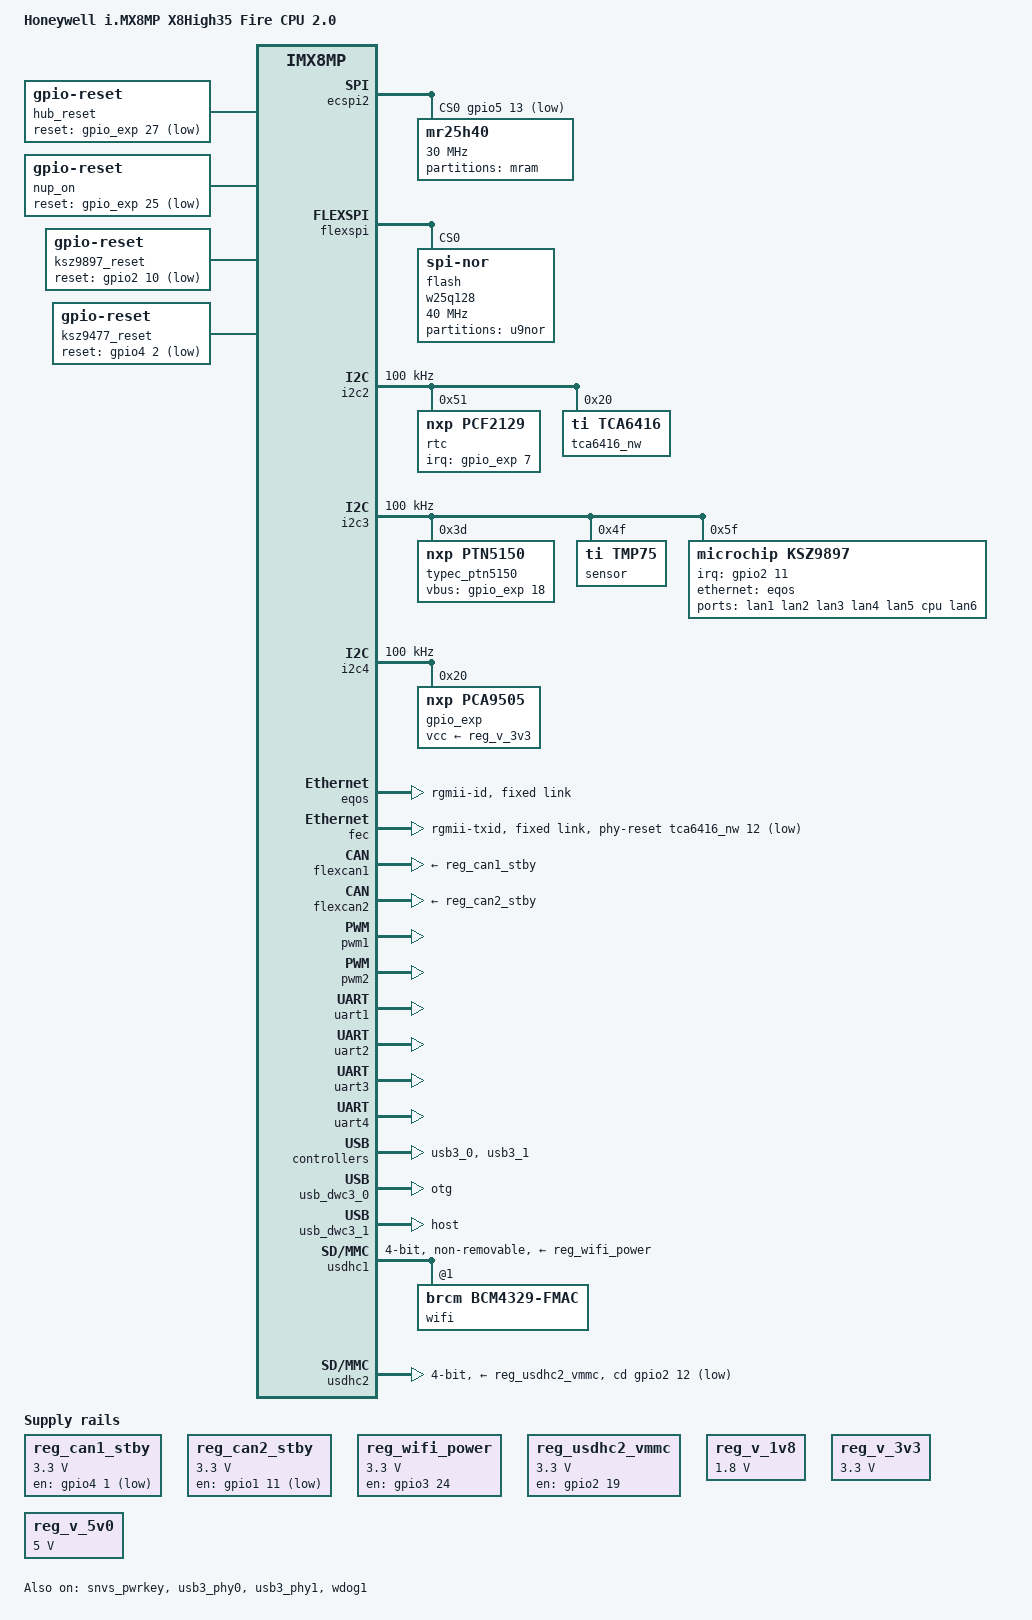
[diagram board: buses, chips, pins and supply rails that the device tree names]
// SPDX-License-Identifier: (GPL-2.0 OR MIT)
/*
 * Copyright (C) 2021 Shrirang Bagul <shrirang.bagul@canonical.com>
 */

/dts-v1/;

#include "dt-bindings/usb/pd.h"
#include "imx8mp-x8high35-som.dtsi"

/ {
	model = "Honeywell i.MX8MP X8High35 Fire CPU 2.0";
	compatible = "Honeywell,x8high35-fire", "fsl,imx8mp-evk", "fsl,imx8mp";

	chosen {
		stdout-path = &uart2;
	};

	firmware {
		optee {
			compatible = "linaro,optee-tz";
			method = "smc";
		};
	};

	reg_can1_stby: regulator-can1-stby {
		compatible = "regulator-fixed";
		regulator-name = "can1-stby";
		pinctrl-names = "default";
		pinctrl-0 = <&pinctrl_flexcan1_reg>;
		regulator-min-microvolt = <3300000>;
		regulator-max-microvolt = <3300000>;
		gpio = <&gpio4 1 GPIO_ACTIVE_LOW>;
		enable-active-low;
		regulator-always-on;
	};

	reg_can2_stby: regulator-can2-stby {
		compatible = "regulator-fixed";
		regulator-name = "can2-stby";
		pinctrl-names = "default";
		pinctrl-0 = <&pinctrl_flexcan2_reg>;
		regulator-min-microvolt = <3300000>;
		regulator-max-microvolt = <3300000>;
		gpio = <&gpio1 11 GPIO_ACTIVE_LOW>;
		enable-active-low;
		regulator-always-on;
	        status = "okay";
	};

	reg_wifi_power: regulator-wifi-power {
		compatible = "regulator-fixed";
		regulator-name = "wifi_power";
		regulator-min-microvolt = <3300000>;
		regulator-max-microvolt = <3300000>;
		gpio = <&gpio3 24 GPIO_ACTIVE_HIGH>;
		enable-active-high;
		regulator-always-on;
		startup-delay-us = <10000>;
		off-on-delay-us = <12000>;
	};

	reg_usdhc2_vmmc: regulator-usdhc2-vmmc {
		compatible = "regulator-fixed";
		pinctrl-names = "default";
//		pinctrl-0 = <&pinctrl_reg_usdhc2_vmmc>;
		regulator-name = "VSD_3V3";
		regulator-min-microvolt = <3300000>;
		regulator-max-microvolt = <3300000>;
		gpio = <&gpio2 19 GPIO_ACTIVE_HIGH>;
		enable-active-high;
		startup-delay-us = <100>;
		off-on-delay-us = <12000>;
	};

	reg_v_1v8: regulator-v-1v8 {
		compatible = "regulator-fixed";
		regulator-name = "v_1v8";
		regulator-max-microvolt = <1800000>;
		regulator-min-microvolt = <1800000>;
		regulator-always-on;
	};

	reg_v_3v3: regulator-v-3v3 {
		compatible = "regulator-fixed";
		regulator-name = "v_3v3";
		regulator-max-microvolt = <3300000>;
		regulator-min-microvolt = <3300000>;
		regulator-always-on;
	};

	reg_v_5v0: regulator-v-5v0 {
		compatible = "regulator-fixed";
		regulator-name = "v_5v0";
		regulator-max-microvolt = <5000000>;
		regulator-min-microvolt = <5000000>;
		regulator-always-on;
	};

	hub_reset: usb-reset {
		compatible = "gpio-reset";
		reset-gpios = <&gpio_exp 27 1>;
		#reset-cells = <0>;
		default-state = "off";
	};

	nup_on: nup-on {
               compatible = "gpio-reset";
               reset-gpios = <&gpio_exp 25 1>;
               #reset-cells = <0>;
               default-state = "off";
	};

	ksz9897_reset: ksz9897-reset {
		compatible = "gpio-reset";
		reset-gpios = <&gpio2 10 1>;
		#reset-cells = <0>;
		default-state = "off";
	};

	ksz9477_reset: ksz9897-reset {
		compatible = "gpio-reset";
		reset-gpios = <&gpio4 2 1>;
		#reset-cells = <0>;
		default-state = "off";
	};
};

&ecspi2 {
	pinctrl-names = "default";
	pinctrl-0 = <&pinctrl_ecspi2>;
	cs-gpios = <&gpio5 13 GPIO_ACTIVE_LOW>;
	num-cs = <1>;
	status = "okay";

	mr25h40: mram@0 {
		#address-cell = <1>;
		#size-cells = <1>;
		compatible = "mr25h40", "jedec,spi-nor";
		reg = <0 0x00000000 0x00080000>;
		spi-max-frequency = <30000000>;

		partition@0 {
			label = "mram";
			reg = <0x00000000 0x00080000>;
		};
	};
};

&flexspi {
	pinctrl-names = "default";
	pinctrl-0 = <&pinctrl_flexspi0>;
	status = "okay";

	flash: w25q128@0 {
		#address-cells = <1>;
		#size-cell = <1>;
		compatible = "jedec,spi-nor";
		m25p,fast-read;
		spi-max-frequency = <40000000>;
		reg = <0>;

		partition@u9nor {
			label = "u9nor";
			reg = <0x00000000 0x01000000>; /* start address, size */
		};
	};
};

&i2c2 {
	pinctrl-names = "default";
	pinctrl-0 = <&pinctrl_i2c2>;
	clock-frequency = <100000>;
	status = "okay";

	rtc: rtc@51 {
		compatible = "nxp,pcf2129";
		reg = <0x51>;
		interrupt-parent = <&gpio_exp>;
		interrupts = <7 IRQ_TYPE_EDGE_FALLING>;
	};

	tca6416_nw: gpio@20 {
		compatible = "ti,tca6416";
		reg = <0x20>;
		gpio-controller;
		#gpio-cells = <2>;
	};
};

&i2c3 {
	pinctrl-names = "default";
	pinctrl-0 = <&pinctrl_i2c3>;
	clock-frequency = <100000>;
	status = "okay";

	typec_ptn5150: typec@3d {
		compatible = "nxp,ptn5150";
		reg = <0x3d>;
		vbus-gpios = <&gpio_exp 18 GPIO_ACTIVE_HIGH>;
		status = "okay";
	};

	sensor@4f {
		compatible = "ti,tmp75";
		reg = <0x4f>;
	};

	ksz9897: ksz9897@5f {
		compatible = "microchip,ksz9897";
		reg = <0x5f>;
		phy-mode = "rgmii-txid";
		interrupt-parent = <&gpio2>;
		interrupts = <11 IRQ_TYPE_LEVEL_LOW>;
		status = "okay";
		ports {
			#address-cells = <1>;
			#size-cells = <0>;
			port@0 {
				reg = <0>;
				label = "lan1";
			};
			port@1 {
				reg = <1>;
				label = "lan2";
			};
			port@2 {
				reg = <2>;
				label = "lan3";
			};
			port@3 {
				reg = <3>;
				label = "lan4";
			};
			port@4 {
				reg = <4>;
				label = "lan5";
			};
			port@5 {
				reg = <5>;
				label = "cpu";
				cpu = <6>;	/* Added cpu property to get cpu port in ksz driver */
				ethernet = <&eqos>;
				fixed-link {
					speed = <1000>;
					full-duplex;
				};
			};
			port@6 {
				reg = <6>;
				label = "lan6";
				fixed-link {
					speed = <1000>;
					full-duplex;
				};
			};
		};
	};
};

&i2c4 {
	pinctrl-names = "default";
	pinctrl-0 = <&pinctrl_i2c4>;
	clock-frequency = <100000>;
	status = "okay";

	gpio_exp: gpio@20 {
		compatible = "nxp,pca9505";
		reg = <0x20>;
		gpio-controller;
		#gpio-cells = <2>;
		vcc-supply = <&reg_v_3v3>;
		status = "okay";
	};
};

&eqos {
	pinctrl-names = "default";
	pinctrl-0 = <&pinctrl_eqos>;
	phy-mode = "rgmii-id";
	resets = <&ksz9897_reset>;
	status = "okay";
	fixed-link {
		speed = <1000>;
		full-duplex;
	};
};

&fec {
	pinctrl-names = "default";
	pinctrl-0 = <&pinctrl_fec>;
	phy-mode = "rgmii-txid";
	resets = <&ksz9477_reset>;
	fsl,magic-packet;
	phy-reset-gpios = <&tca6416_nw 12 1>;
	phy-reset-duration =<20>;
	status = "okay";
	fixed-link {
		speed = <1000>;
		full-duplex;
	};
};

&iomuxc {
	pinctrl-names = "default";
	pinctrl-0 = <&pinctrl_hog>;

	pinctrl_hog: hoggrp {
		fsl,pins = <
			MX8MP_IOMUXC_SAI2_MCLK__GPIO4_IO27		0x19 /* HW_FIRE_IN */
			MX8MP_IOMUXC_SAI2_TXFS__GPIO4_IO24		0x19 /* SYS_FAULT_IN */
			MX8MP_IOMUXC_SAI2_TXC__GPIO4_IO25		0x19 /* HW_FIRE_OUT  */
			MX8MP_IOMUXC_SAI2_TXD0__GPIO4_IO26		0x19 /* BUF_nALRM_BUS */
			MX8MP_IOMUXC_SAI2_RXD0__GPIO4_IO23		0x19 /* xCLP_SYNC_UNBUF */
			MX8MP_IOMUXC_SAI2_RXFS__GPIO4_IO21		0x19 /* BUF_SYS_SYNC_IN */
			MX8MP_IOMUXC_SAI3_MCLK__GPIO5_IO02		0x19 /* INT_ADIN1200 */
			MX8MP_IOMUXC_SAI3_TXFS__GPIO4_IO31		0x19 /* INT_ADIN1100 */
			MX8MP_IOMUXC_SAI3_TXC__GPIO5_IO00		0x19 /* INT_N_SFP2_10BASE2 */
			MX8MP_IOMUXC_SAI3_RXFS__GPIO4_IO28		0x19 /* INT_N_SFP1_10BASE1 */
			MX8MP_IOMUXC_SPDIF_RX__GPIO5_IO04		0x19 /* EXPANDER_nINT */
			MX8MP_IOMUXC_SPDIF_EXT_CLK__GPIO5_IO05		0x19 /* USB_INT */
			MX8MP_IOMUXC_SD2_WP__GPIO2_IO20		0x19 /* nINT_NFC */
			MX8MP_IOMUXC_SD2_RESET_B__GPIO2_IO19		0x19 /* SYS_SYNC_OUT */
			MX8MP_IOMUXC_SAI1_TXD6__GPIO4_IO18		0x19 /* ONC_PM_RESET */
			MX8MP_IOMUXC_SAI1_RXFS__GPIO4_IO00		0x19 /* PME_N */
			MX8MP_IOMUXC_SAI5_RXFS__GPIO3_IO19		0x19
			MX8MP_IOMUXC_GPIO1_IO05__GPIO1_IO05		0x19 /* BOARD_ID_01 */
			MX8MP_IOMUXC_GPIO1_IO06__GPIO1_IO06		0x19 /* BOARD_ID_02 */
			MX8MP_IOMUXC_GPIO1_IO07__GPIO1_IO07		0x19 /* BOARD_ID_03 */
			MX8MP_IOMUXC_GPIO1_IO13__GPIO1_IO13		0x19 /* BOARD_REV_01 */
			MX8MP_IOMUXC_GPIO1_IO14__GPIO1_IO14		0x19 /* BOARD_REV_02 */
			MX8MP_IOMUXC_GPIO1_IO01__GPIO1_IO01		0x19 /* OPT_NW_ID */
			MX8MP_IOMUXC_GPIO1_IO15__GPIO1_IO15		0x19
			MX8MP_IOMUXC_GPIO1_IO10__GPIO1_IO10		0x19
			MX8MP_IOMUXC_SAI1_TXD7__GPIO4_IO19		0x19 /* GPIO_RESET */
		>;
	};

	pinctrl_eqos: eqosgrp {
		fsl,pins = <
			MX8MP_IOMUXC_ENET_MDC__ENET_QOS_MDC	0x3
			MX8MP_IOMUXC_ENET_MDIO__ENET_QOS_MDIO	0x3
			MX8MP_IOMUXC_ENET_RD0__ENET_QOS_RGMII_RD0	0x91
			MX8MP_IOMUXC_ENET_RD1__ENET_QOS_RGMII_RD1	0x91
			MX8MP_IOMUXC_ENET_RD2__ENET_QOS_RGMII_RD2	0x91
			MX8MP_IOMUXC_ENET_RD3__ENET_QOS_RGMII_RD3	0x91
			MX8MP_IOMUXC_ENET_RXC__CCM_ENET_QOS_CLOCK_GENERATE_RX_CLK	0x91
			MX8MP_IOMUXC_ENET_RX_CTL__ENET_QOS_RGMII_RX_CTL	0x91
			MX8MP_IOMUXC_ENET_TD0__ENET_QOS_RGMII_TD0		0x1f
			MX8MP_IOMUXC_ENET_TD1__ENET_QOS_RGMII_TD1		0x1f
			MX8MP_IOMUXC_ENET_TD2__ENET_QOS_RGMII_TD2		0x1f
			MX8MP_IOMUXC_ENET_TD3__ENET_QOS_RGMII_TD3		0x1f
			MX8MP_IOMUXC_ENET_TX_CTL__ENET_QOS_RGMII_TX_CTL	0x1f
			MX8MP_IOMUXC_ENET_TXC__CCM_ENET_QOS_CLOCK_GENERATE_TX_CLK	0x1f
			MX8MP_IOMUXC_SD1_RESET_B__GPIO2_IO10		0x19
			MX8MP_IOMUXC_SD1_STROBE__GPIO2_IO11		0x19 /* ksz9897 switch INT */
			MX8MP_IOMUXC_SAI5_RXD0__GPIO3_IO21		0x19 /* ENET_PME_N */
		>;
	};

	pinctrl_ecspi2: ecspi2grp {
		fsl,pins = <
			MX8MP_IOMUXC_ECSPI2_SCLK__ECSPI2_SCLK	0x82
			MX8MP_IOMUXC_ECSPI2_MISO__ECSPI2_MISO	0x82
			MX8MP_IOMUXC_ECSPI2_MOSI__ECSPI2_MOSI	0x82
			MX8MP_IOMUXC_SAI1_RXC__GPIO4_IO01 	0x19
			MX8MP_IOMUXC_SAI1_RXFS__GPIO4_IO00	0x19
			MX8MP_IOMUXC_ECSPI2_SS0__GPIO5_IO13	0x40000
			MX8MP_IOMUXC_SAI3_TXD__GPIO5_IO01	0x40000
		>;
	};

	pinctrl_fec: fecgrp {
		fsl,pins = <
			MX8MP_IOMUXC_SAI1_RXD2__ENET1_MDC		0x3
			MX8MP_IOMUXC_SAI1_RXD3__ENET1_MDIO		0x3
			MX8MP_IOMUXC_SAI1_RXD4__ENET1_RGMII_RD0		0x91
			MX8MP_IOMUXC_SAI1_RXD5__ENET1_RGMII_RD1		0x91
			MX8MP_IOMUXC_SAI1_RXD6__ENET1_RGMII_RD2		0x91
			MX8MP_IOMUXC_SAI1_RXD7__ENET1_RGMII_RD3		0x91
			MX8MP_IOMUXC_SAI1_TXC__ENET1_RGMII_RXC		0x91
			MX8MP_IOMUXC_SAI1_TXFS__ENET1_RGMII_RX_CTL	0x91
			MX8MP_IOMUXC_SAI1_TXD0__ENET1_RGMII_TD0		0x1f
			MX8MP_IOMUXC_SAI1_TXD1__ENET1_RGMII_TD1		0x1f
			MX8MP_IOMUXC_SAI1_TXD2__ENET1_RGMII_TD2		0x1f
			MX8MP_IOMUXC_SAI1_TXD3__ENET1_RGMII_TD3		0x1f
			MX8MP_IOMUXC_SAI1_TXD4__ENET1_RGMII_TX_CTL	0x1f
			MX8MP_IOMUXC_SAI1_TXD5__ENET1_RGMII_TXC		0x1f
			MX8MP_IOMUXC_SAI1_RXD0__GPIO4_IO02		0x19
		>;
	};

	pinctrl_flexcan1: flexcan1grp {
		fsl,pins = <
			MX8MP_IOMUXC_SAI5_RXD2__CAN1_RX          0x154
			MX8MP_IOMUXC_SAI5_RXD1__CAN1_TX          0x154
		>;
	};

	pinctrl_flexcan2: flexcan2grp {
		fsl,pins = <
			MX8MP_IOMUXC_SAI5_MCLK__CAN2_RX		0x154
			MX8MP_IOMUXC_SAI5_RXD3__CAN2_TX		0x154
		>;
	};

	pinctrl_flexcan1_reg: flexcan1reggrp {
		fsl,pins = <
			MX8MP_IOMUXC_SAI1_RXC__GPIO4_IO01	0x154	/* CAN1_STBY */
		>;
	};

	pinctrl_flexcan2_reg: flexcan2reggrp {
		fsl,pins = <
			MX8MP_IOMUXC_GPIO1_IO11__GPIO1_IO11	0x154	/* CAN2_STBY */
		>;
	};

	pinctrl_flexspi0: flexspi0grp {
		fsl,pins = <
			MX8MP_IOMUXC_NAND_ALE__FLEXSPI_A_SCLK		0x1c2
			MX8MP_IOMUXC_NAND_CE0_B__FLEXSPI_A_SS0_B	0x82
			MX8MP_IOMUXC_NAND_DATA00__FLEXSPI_A_DATA00	0x82
			MX8MP_IOMUXC_NAND_DATA01__FLEXSPI_A_DATA01	0x82
			MX8MP_IOMUXC_NAND_DATA02__FLEXSPI_A_DATA02	0x82
			MX8MP_IOMUXC_NAND_DATA03__FLEXSPI_A_DATA03	0x82
		>;
	};

	pinctrl_i2c2: i2c2grp {
		fsl,pins = <
			MX8MP_IOMUXC_I2C2_SCL__I2C2_SCL		0x400001c3
			MX8MP_IOMUXC_I2C2_SDA__I2C2_SDA		0x400001c3
		>;
	};

	pinctrl_i2c3: i2c3grp {
		fsl,pins = <
			MX8MP_IOMUXC_I2C3_SCL__I2C3_SCL		0x400001c3
			MX8MP_IOMUXC_I2C3_SDA__I2C3_SDA		0x400001c3
		>;
	};

	pinctrl_i2c4: i2c4grp {
		fsl,pins = <
			MX8MP_IOMUXC_I2C4_SCL__I2C4_SCL		0x400001c3
			MX8MP_IOMUXC_I2C4_SDA__I2C4_SDA		0x400001c3
		>;
	};

	pinctrl_pwm1: pwm1grp {
		fsl,pins = <
			MX8MP_IOMUXC_GPIO1_IO08__PWM1_OUT	0x116
		>;
	};

	pinctrl_pwm2: pwm2grp {
		fsl,pins = <
			MX8MP_IOMUXC_GPIO1_IO09__PWM2_OUT	0x116
		>;
	};

	pinctrl_uart1: uart1grp {
		fsl,pins = <
			MX8MP_IOMUXC_UART1_RXD__UART1_DCE_RX	0x140
			MX8MP_IOMUXC_UART1_TXD__UART1_DCE_TX	0x140
			MX8MP_IOMUXC_UART3_RXD__GPIO5_IO26	0x140
			MX8MP_IOMUXC_UART3_TXD__GPIO5_IO27	0x140
		>;
	};

	pinctrl_uart2: uart2grp {
		fsl,pins = <
			MX8MP_IOMUXC_UART2_RXD__UART2_DCE_RX	0x49
			MX8MP_IOMUXC_UART2_TXD__UART2_DCE_TX	0x49
		>;
	};

	pinctrl_uart3: uart3grp {
		fsl,pins = <
			MX8MP_IOMUXC_ECSPI1_SCLK__UART3_DCE_RX	0x140
			MX8MP_IOMUXC_ECSPI1_MOSI__UART3_DCE_TX	0x140
			MX8MP_IOMUXC_ECSPI1_SS0__GPIO5_IO09	0x140
			MX8MP_IOMUXC_ECSPI1_MISO__GPIO5_IO08	0x140
		>;
	};

	pinctrl_uart4: uart4grp {
		fsl,pins = <
			MX8MP_IOMUXC_UART4_RXD__UART4_DCE_RX	0x140
			MX8MP_IOMUXC_UART4_TXD__UART4_DCE_TX	0x140
			MX8MP_IOMUXC_HDMI_DDC_SCL__GPIO3_IO26	0x140
			MX8MP_IOMUXC_HDMI_DDC_SDA__GPIO3_IO27	0x140
			MX8MP_IOMUXC_HDMI_CEC__GPIO3_IO28	0x140
			MX8MP_IOMUXC_HDMI_HPD__GPIO3_IO29	0x140
		>;
	};

	pinctrl_usdhc1: usdhc1grp {
		fsl,pins = <
			MX8MP_IOMUXC_SD1_CLK__USDHC1_CLK	0x190
			MX8MP_IOMUXC_SD1_CMD__USDHC1_CMD	0x1d0
			MX8MP_IOMUXC_SD1_DATA0__USDHC1_DATA0	0x1d0
			MX8MP_IOMUXC_SD1_DATA1__USDHC1_DATA1	0x1d0
			MX8MP_IOMUXC_SD1_DATA2__USDHC1_DATA2	0x1d0
			MX8MP_IOMUXC_SD1_DATA3__USDHC1_DATA3	0x1d0
			MX8MP_IOMUXC_SD1_DATA6__GPIO2_IO08	0x19
			MX8MP_IOMUXC_SD1_DATA7__GPIO2_IO09	0x19
		>;
	};

	pinctrl_usdhc1_100mhz: usdhc1-100mhzgrp {
		fsl,pins = <
			MX8MP_IOMUXC_SD1_CLK__USDHC1_CLK	0x194
			MX8MP_IOMUXC_SD1_CMD__USDHC1_CMD	0x1d4
			MX8MP_IOMUXC_SD1_DATA0__USDHC1_DATA0	0x1d4
			MX8MP_IOMUXC_SD1_DATA1__USDHC1_DATA1	0x1d4
			MX8MP_IOMUXC_SD1_DATA2__USDHC1_DATA2	0x1d4
			MX8MP_IOMUXC_SD1_DATA3__USDHC1_DATA3	0x1d4
			MX8MP_IOMUXC_SD1_DATA6__GPIO2_IO08	0x19
			MX8MP_IOMUXC_SD1_DATA7__GPIO2_IO09	0x19
		>;
	};

	pinctrl_usdhc1_200mhz: usdhc1-200mhzgrp {
		fsl,pins = <
			MX8MP_IOMUXC_SD1_CLK__USDHC1_CLK	0x196
			MX8MP_IOMUXC_SD1_CMD__USDHC1_CMD	0x1d6
			MX8MP_IOMUXC_SD1_DATA0__USDHC1_DATA0	0x1d6
			MX8MP_IOMUXC_SD1_DATA1__USDHC1_DATA1	0x1d6
			MX8MP_IOMUXC_SD1_DATA2__USDHC1_DATA2	0x1d6
			MX8MP_IOMUXC_SD1_DATA3__USDHC1_DATA3	0x1d6
			MX8MP_IOMUXC_SD1_DATA6__GPIO2_IO08	0x19
			MX8MP_IOMUXC_SD1_DATA7__GPIO2_IO09	0x19
		>;
	};

	pinctrl_usdhc2: usdhc2grp {
		fsl,pins = <
			MX8MP_IOMUXC_SD2_CLK__USDHC2_CLK	0x190
			MX8MP_IOMUXC_SD2_CMD__USDHC2_CMD	0x1d0
			MX8MP_IOMUXC_SD2_DATA0__USDHC2_DATA0	0x1d0
			MX8MP_IOMUXC_SD2_DATA1__USDHC2_DATA1	0x1d0
			MX8MP_IOMUXC_SD2_DATA2__USDHC2_DATA2	0x1d0
			MX8MP_IOMUXC_SD2_DATA3__USDHC2_DATA3	0x1d0
			MX8MP_IOMUXC_GPIO1_IO04__USDHC2_VSELECT	0xc1
		>;
	};

	pinctrl_usdhc2_100mhz: usdhc2-100mhzgrp {
		fsl,pins = <
			MX8MP_IOMUXC_SD2_CLK__USDHC2_CLK	0x194
			MX8MP_IOMUXC_SD2_CMD__USDHC2_CMD	0x1d4
			MX8MP_IOMUXC_SD2_DATA0__USDHC2_DATA0	0x1d4
			MX8MP_IOMUXC_SD2_DATA1__USDHC2_DATA1	0x1d4
			MX8MP_IOMUXC_SD2_DATA2__USDHC2_DATA2	0x1d4
			MX8MP_IOMUXC_SD2_DATA3__USDHC2_DATA3	0x1d4
			MX8MP_IOMUXC_GPIO1_IO04__USDHC2_VSELECT 0xc1
		>;
	};

	pinctrl_usdhc2_200mhz: usdhc2-200mhzgrp {
		fsl,pins = <
			MX8MP_IOMUXC_SD2_CLK__USDHC2_CLK	0x196
			MX8MP_IOMUXC_SD2_CMD__USDHC2_CMD	0x1d6
			MX8MP_IOMUXC_SD2_DATA0__USDHC2_DATA0	0x1d6
			MX8MP_IOMUXC_SD2_DATA1__USDHC2_DATA1	0x1d6
			MX8MP_IOMUXC_SD2_DATA2__USDHC2_DATA2	0x1d6
			MX8MP_IOMUXC_SD2_DATA3__USDHC2_DATA3	0x1d6
			MX8MP_IOMUXC_GPIO1_IO04__USDHC2_VSELECT 0xc1
		>;
	};

	pinctrl_usdhc2_gpio: usdhc2gpiogrp {
		fsl,pins = <
			MX8MP_IOMUXC_SD2_CD_B__GPIO2_IO12	0x1c4
		>;
	};

	pinctrl_wdog: wdoggrp {
		fsl,pins = <
			MX8MP_IOMUXC_GPIO1_IO02__WDOG1_WDOG_B	0xc6
		>;
	};
};

&ocotp {
	eth_mac2: mac-address@94 {
		reg = <0x94 6>;
	};
};

&flexcan1 {
	pinctrl-names = "default";
	pinctrl-0 = <&pinctrl_flexcan1>;
	xceiver-supply = <&reg_can1_stby>;
	status = "okay";
};

&flexcan2 {
	pinctrl-names = "default";
	pinctrl-0 = <&pinctrl_flexcan2>;
	xceiver-supply = <&reg_can2_stby>;
	status = "okay";
};

&pwm1 {
	pinctrl-names = "default";
	pinctrl-0 = <&pinctrl_pwm1>;
	status = "okay";
};

&pwm2 {
	pinctrl-names = "default";
	pinctrl-0 = <&pinctrl_pwm2>;
	status = "okay";
};

&snvs_pwrkey {
	status = "okay";
};

/* RS485 */
&uart1 {
	pinctrl-names = "default";
	pinctrl-0 = <&pinctrl_uart1>;
	linux,rs485-enabled-at-boot-time;
	status = "okay";
//	fsl,uart-has-rtscts;
};

&uart2 {
	/* ARM53 debug console */
	pinctrl-names = "default";
	pinctrl-0 = <&pinctrl_uart2>;
	status = "okay";
};

/* RS485 */
&uart3 {
	pinctrl-names = "default";
	pinctrl-0 = <&pinctrl_uart3>;
	linux,rs485-enabled-at-boot-time;
	status = "okay";
};

/* RS485 */
&uart4 {
	pinctrl-names = "default";
	pinctrl-0 = <&pinctrl_uart4>;
	linux,rs485-enabled-at-boot-time;
	status = "okay";
};

&usb3_phy0 {
	fsl,phy-tx-vref-tune = <6>;
	fsl,phy-tx-rise-tune = <0>;
	fsl,phy-tx-preemp-amp-tune = <3>;
	fsl,phy-comp-dis-tune = <7>;
	fsl,pcs-tx-deemph-3p5db = <0x21>;
	fsl,phy-pcs-tx-swing-full = <0x7f>;
	status = "okay";
};

&usb3_0 {
	status = "okay";
};

&usb_dwc3_0 {
	dr_mode = "otg";
	status = "okay";
	extcon = <&typec_ptn5150>;
	hnp-disable;
	srp-disable;
	adp-disable;
	maximum-speed = "full-speed";
};

&usb3_phy1 {
	fsl,phy-tx-preemp-amp-tune = <2>;
	status = "okay";
};

&usb3_1 {
	status = "okay";
};

&usb_dwc3_1 {
	dr_mode = "host";
	resets = <&hub_reset>;
	status = "okay";
};

&usdhc1 {
	pinctrl-names = "default", "state_100mhz", "state_200mhz";
	pinctrl-0 = <&pinctrl_usdhc1>;
	pinctrl-1 = <&pinctrl_usdhc1_100mhz>;
	pinctrl-2 = <&pinctrl_usdhc1_200mhz>;
	vmmc-supply = <&reg_wifi_power>;
	bus-width = <4>;
	non-removable;
	keep-power-in-suspend;
	enable-sdio-wakeup;
	status = "okay";

	wifi@1 {
		compatible = "brcm,bcm4329-fmac";
		reg = <1>;
	};
};

&usdhc2 {
	assigned-clocks = <&clk IMX8MP_CLK_USDHC2>;
	assigned-clock-rates = <400000000>;
	pinctrl-names = "default", "state_100mhz", "state_200mhz";
	pinctrl-0 = <&pinctrl_usdhc2>, <&pinctrl_usdhc2_gpio>;
	pinctrl-1 = <&pinctrl_usdhc2_100mhz>, <&pinctrl_usdhc2_gpio>;
	pinctrl-2 = <&pinctrl_usdhc2_200mhz>, <&pinctrl_usdhc2_gpio>;
	cd-gpios = <&gpio2 12 GPIO_ACTIVE_LOW>;
	vmmc-supply = <&reg_usdhc2_vmmc>;
	bus-width = <4>;
	status = "okay";
};

&wdog1 {
	pinctrl-names = "default";
	pinctrl-0 = <&pinctrl_wdog>;
	fsl,ext-reset-output;
	status = "okay";
};
